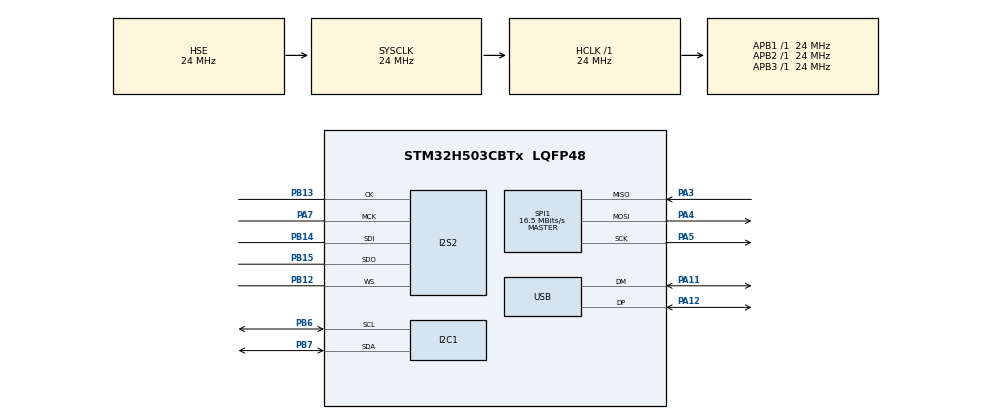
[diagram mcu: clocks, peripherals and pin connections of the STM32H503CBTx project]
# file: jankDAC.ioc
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BOOTPATH.BootPathName=LEGACY
BOOTPATH.UserSelectedBootPath=LEGACY
I2C1.Timing=0x00506682
I2S2.ErrorAudioFreq=0.7 %
I2S2.Instance=SPI$Index
I2S2.RealAudioFreq=8.056 KHz
Mcu.Family=STM32H5
Mcu.Name=STM32H503CBTx
Mcu.Package=LQFP48
NVIC.PriorityGroup=NVIC_PRIORITYGROUP_4
NVIC.USB_DRD_FS_IRQn=true\:0\:0\:false\:false\:true\:true\:true\:true
PA11.Mode=Device
PA11.Signal=USB_DM
PA12.Mode=Device
PA12.Signal=USB_DP
PA13(JTMS/SWDIO).Mode=Serial_Wire
PA13(JTMS/SWDIO).Signal=DEBUG_JTMS-SWDIO
PA14(JTCK/SWCLK).Mode=Serial_Wire
PA14(JTCK/SWCLK).Signal=DEBUG_JTCK-SWCLK
PA3.Mode=Full_Duplex_Master
PA3.Signal=SPI1_MISO
PA4.Mode=Full_Duplex_Master
PA4.Signal=SPI1_MOSI
PA5.Mode=Full_Duplex_Master
PA5.Signal=SPI1_SCK
PA7.Mode=Master_Clock_Activated
PA7.Signal=I2S2_MCK
PB12.Mode=Full_Duplex_Master
PB12.Signal=I2S2_WS
PB13.Mode=Full_Duplex_Master
PB13.Signal=I2S2_CK
PB14.Mode=Full_Duplex_Master
PB14.Signal=I2S2_SDI
PB15.Mode=Full_Duplex_Master
PB15.Signal=I2S2_SDO
PB6.Mode=I2C
PB6.Signal=I2C1_SCL
PB7.Mode=I2C
PB7.Signal=I2C1_SDA
PH0-OSC_IN(PH0).Mode=HSE-External-Oscillator
PH0-OSC_IN(PH0).Signal=RCC_OSC_IN
PH1-OSC_OUT(PH1).Mode=HSE-External-Oscillator
PH1-OSC_OUT(PH1).Signal=RCC_OSC_OUT
ProjectManager.HeapSize=0x200
ProjectManager.StackSize=0x400
ProjectManager.TargetToolchain=CMake
RCC.ADCFreq_Value=24000000
RCC.AHBFreq_Value=24000000
RCC.APB1Freq_Value=24000000
RCC.APB1TimFreq_Value=24000000
RCC.APB2Freq_Value=24000000
RCC.APB2TimFreq_Value=24000000
RCC.APB3Freq_Value=24000000
RCC.CSI_VALUE=4000000
RCC.CortexFreq_Value=24000000
RCC.EPOD_VALUE=24000000
RCC.HCLKFreq_Value=24000000
RCC.HSE_VALUE=24000000
RCC.HSI48_VALUE=48000000
RCC.HSI_VALUE=64000000
RCC.LSE_VALUE=32768
RCC.LSIRC_VALUE=32000
RCC.PLL1Q=4
RCC.PLL2FRACN=4096
RCC.PLL2N=4
RCC.PLL2Q=3
RCC.PLL2Source=RCC_PLL2_SOURCE_HSE
RCC.PLLFRACN=0
RCC.PLLM=2
RCC.PLLN=11
RCC.PLLSourceVirtual=RCC_PLL1_SOURCE_HSE
RCC.SYSCLKFreq_VALUE=24000000
RCC.SYSCLKSource=RCC_SYSCLKSOURCE_HSE
RCC.USBFreq_Value=48000000
RCC.VCOOutputFreq_Value=132000000
SPI1.CalculateBaudRate=16.5 MBits/s
SPI1.Direction=SPI_DIRECTION_2LINES
SPI1.Mode=SPI_MODE_MASTER
SPI1.VirtualType=VM_MASTER
USB.VirtualMode=Device_Only
VP_BOOTPATH_VS_BOOTPATH.Mode=BP_Activate
VP_CORTEX_M33_NS_VS_Hclk.Mode=Hclk_Mode
VP_ICACHE_VS_ICACHE.Mode=DefaultMode
VP_MEMORYMAP_VS_MEMORYMAP.Mode=CurAppReg
VP_PWR_VS_LPOM.Mode=PowerOptimisation
VP_PWR_VS_SECSignals.Mode=Security/Privilege
board=custom

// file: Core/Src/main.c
/* USER CODE BEGIN Header */
/**
  ******************************************************************************
  * @file           : main.c
  * @brief          : Main program body
  ******************************************************************************
  * @attention
  *
  * Copyright (c) 2026 STMicroelectronics.
  * All rights reserved.
  *
  * This software is licensed under terms that can be found in the LICENSE file
  * in the root directory of this software component.
  * If no LICENSE file comes with this software, it is provided AS-IS.
  *
  ******************************************************************************
  */

/*
*   TODO:
*     Fix all the blink items so they do something on the real board
*
*
*
*
*
*
*/

/* USER CODE END Header */
#include "main.h"

/* USER CODE BEGIN Includes */
#include "tusb_config.h"
#include "tusb.h"
#include "usb_descriptors.h"
#include "common_types.h"
#include "bsp/board_api.h"
#include "board_port.h"

/* USER CODE END Includes */

I2C_HandleTypeDef hi2c1;

I2S_HandleTypeDef hi2s2;

SPI_HandleTypeDef hspi1;

PCD_HandleTypeDef hpcd_USB_DRD_FS;

void SystemClock_Config(void);
static void MX_GPIO_Init(void);
static void MX_USB_PCD_Init(void);
static void MX_I2C1_Init(void);
static void MX_I2S2_Init(void);
static void MX_SPI1_Init(void);
static void MX_ICACHE_Init(void);
/* USER CODE BEGIN PFP */

void audio_task(void);

/* USER CODE END PFP */

/* USER CODE BEGIN 0 */

// Audio controls
// Current states
uint8_t mute[CFG_TUD_AUDIO_FUNC_1_N_CHANNELS_RX + 1];   // +1 for master channel 0
int16_t volume[CFG_TUD_AUDIO_FUNC_1_N_CHANNELS_RX + 1];// +1 for master channel 0
uint32_t current_sample_rate = 44100;

enum {
  BLINK_STREAMING = 25,
  BLINK_NOT_MOUNTED = 250,
  BLINK_MOUNTED = 1000,
  BLINK_SUSPENDED = 2500
};

static uint32_t blink_interval_ms = BLINK_NOT_MOUNTED;

// Buffer for speaker data
uint16_t i2s_dummy_buffer[CFG_TUD_AUDIO_FUNC_1_EP_OUT_SW_BUF_SZ / 2];

#if CFG_AUDIO_DEBUG
void audio_debug_task(void);
uint8_t current_alt_settings;
volatile uint16_t fifo_count;
volatile uint32_t fifo_count_avg;
#endif

/* USER CODE END 0 */

int main(void)
{

  /* MCU Configuration--------------------------------------------------------*/

  /* Reset of all peripherals, Initializes the Flash interface and the Systick. */
  HAL_Init();

  /* Configure the system clock */
  SystemClock_Config();

  /* Initialize all configured peripherals */
  MX_GPIO_Init();
  MX_I2C1_Init();
  MX_I2S2_Init();
  MX_SPI1_Init();
  MX_ICACHE_Init();
  /* USER CODE BEGIN 2 */
  // Enable USB clocking without HAL PCD init (TinyUSB handles the peripheral).
  RCC_PeriphCLKInitTypeDef PeriphClkInitStruct = {0};
  PeriphClkInitStruct.PeriphClockSelection = RCC_PERIPHCLK_USB;
  PeriphClkInitStruct.UsbClockSelection = RCC_USBCLKSOURCE_HSI48;
  if (HAL_RCCEx_PeriphCLKConfig(&PeriphClkInitStruct) != HAL_OK)
  {
    Error_Handler();
  }
  __HAL_RCC_USB_CLK_ENABLE();
  #if defined(PWR_USBSCR_USB33DEN)
  HAL_PWREx_EnableVddUSB();
  #endif

  // init device stack on configured roothub port
  tusb_rhport_init_t dev_init = {
      .role = TUSB_ROLE_DEVICE,
      .speed = TUSB_SPEED_AUTO};
  tusb_init(BOARD_TUD_RHPORT, &dev_init);
  // Force a clean re-enumeration after TinyUSB is ready.
  tud_disconnect();
  tusb_time_delay_ms_api(10);
  tud_connect();

  /* USER CODE END 2 */

  /* Infinite loop */
  while (1)
  {

    /* USER CODE BEGIN 3 */
    tud_task();// TinyUSB device task
#if CFG_AUDIO_DEBUG
    audio_debug_task();
#endif
    audio_task();
  }
  /* USER CODE END 3 */
}

void SystemClock_Config(void)
{
  RCC_OscInitTypeDef RCC_OscInitStruct = {0};
  RCC_ClkInitTypeDef RCC_ClkInitStruct = {0};

  /** Configure the main internal regulator output voltage
  */
  __HAL_PWR_VOLTAGESCALING_CONFIG(PWR_REGULATOR_VOLTAGE_SCALE3);

  while(!__HAL_PWR_GET_FLAG(PWR_FLAG_VOSRDY)) {}

  /** Initializes the RCC Oscillators according to the specified parameters
  * in the RCC_OscInitTypeDef structure.
  */
  RCC_OscInitStruct.OscillatorType = RCC_OSCILLATORTYPE_HSI48|RCC_OSCILLATORTYPE_HSE;
  RCC_OscInitStruct.HSEState = RCC_HSE_ON;
  RCC_OscInitStruct.HSI48State = RCC_HSI48_ON;
  RCC_OscInitStruct.PLL.PLLState = RCC_PLL_ON;
  RCC_OscInitStruct.PLL.PLLSource = RCC_PLL1_SOURCE_HSE;
  RCC_OscInitStruct.PLL.PLLM = 2;
  RCC_OscInitStruct.PLL.PLLN = 11;
  RCC_OscInitStruct.PLL.PLLP = 2;
  RCC_OscInitStruct.PLL.PLLQ = 4;
  RCC_OscInitStruct.PLL.PLLR = 2;
  RCC_OscInitStruct.PLL.PLLRGE = RCC_PLL1_VCIRANGE_3;
  RCC_OscInitStruct.PLL.PLLVCOSEL = RCC_PLL1_VCORANGE_WIDE;
  RCC_OscInitStruct.PLL.PLLFRACN = 0;
  if (HAL_RCC_OscConfig(&RCC_OscInitStruct) != HAL_OK)
  {
    Error_Handler();
  }

  /** Initializes the CPU, AHB and APB buses clocks
  */
  RCC_ClkInitStruct.ClockType = RCC_CLOCKTYPE_HCLK|RCC_CLOCKTYPE_SYSCLK
                              |RCC_CLOCKTYPE_PCLK1|RCC_CLOCKTYPE_PCLK2
                              |RCC_CLOCKTYPE_PCLK3;
  RCC_ClkInitStruct.SYSCLKSource = RCC_SYSCLKSOURCE_HSE;
  RCC_ClkInitStruct.AHBCLKDivider = RCC_SYSCLK_DIV1;
  RCC_ClkInitStruct.APB1CLKDivider = RCC_HCLK_DIV1;
  RCC_ClkInitStruct.APB2CLKDivider = RCC_HCLK_DIV1;
  RCC_ClkInitStruct.APB3CLKDivider = RCC_HCLK_DIV1;

  if (HAL_RCC_ClockConfig(&RCC_ClkInitStruct, FLASH_LATENCY_1) != HAL_OK)
  {
    Error_Handler();
  }

  /** Configure the programming delay
  */
  __HAL_FLASH_SET_PROGRAM_DELAY(FLASH_PROGRAMMING_DELAY_0);
}

static void MX_I2C1_Init(void)
{

  hi2c1.Instance = I2C1;
  hi2c1.Init.Timing = 0x00506682;
  hi2c1.Init.OwnAddress1 = 0;
  hi2c1.Init.AddressingMode = I2C_ADDRESSINGMODE_7BIT;
  hi2c1.Init.DualAddressMode = I2C_DUALADDRESS_DISABLE;
  hi2c1.Init.OwnAddress2 = 0;
  hi2c1.Init.OwnAddress2Masks = I2C_OA2_NOMASK;
  hi2c1.Init.GeneralCallMode = I2C_GENERALCALL_DISABLE;
  hi2c1.Init.NoStretchMode = I2C_NOSTRETCH_DISABLE;
  if (HAL_I2C_Init(&hi2c1) != HAL_OK)
  {
    Error_Handler();
  }

  /** Configure Analogue filter
  */
  if (HAL_I2CEx_ConfigAnalogFilter(&hi2c1, I2C_ANALOGFILTER_ENABLE) != HAL_OK)
  {
    Error_Handler();
  }

  /** Configure Digital filter
  */
  if (HAL_I2CEx_ConfigDigitalFilter(&hi2c1, 0) != HAL_OK)
  {
    Error_Handler();
  }

}

static void MX_I2S2_Init(void)
{

  hi2s2.Instance = SPI2;
  hi2s2.Init.Mode = I2S_MODE_MASTER_FULLDUPLEX;
  hi2s2.Init.Standard = I2S_STANDARD_PHILIPS;
  hi2s2.Init.DataFormat = I2S_DATAFORMAT_16B;
  hi2s2.Init.MCLKOutput = I2S_MCLKOUTPUT_ENABLE;
  hi2s2.Init.AudioFreq = I2S_AUDIOFREQ_8K;
  hi2s2.Init.CPOL = I2S_CPOL_LOW;
  hi2s2.Init.FirstBit = I2S_FIRSTBIT_MSB;
  hi2s2.Init.WSInversion = I2S_WS_INVERSION_DISABLE;
  hi2s2.Init.Data24BitAlignment = I2S_DATA_24BIT_ALIGNMENT_RIGHT;
  hi2s2.Init.MasterKeepIOState = I2S_MASTER_KEEP_IO_STATE_DISABLE;
  if (HAL_I2S_Init(&hi2s2) != HAL_OK)
  {
    Error_Handler();
  }

}

static void MX_ICACHE_Init(void)
{

  /** Enable instruction cache (default 2-ways set associative cache)
  */
  if (HAL_ICACHE_Enable() != HAL_OK)
  {
    Error_Handler();
  }

}

static void MX_SPI1_Init(void)
{

  /* SPI1 parameter configuration*/
  hspi1.Instance = SPI1;
  hspi1.Init.Mode = SPI_MODE_MASTER;
  hspi1.Init.Direction = SPI_DIRECTION_2LINES;
  hspi1.Init.DataSize = SPI_DATASIZE_4BIT;
  hspi1.Init.CLKPolarity = SPI_POLARITY_LOW;
  hspi1.Init.CLKPhase = SPI_PHASE_1EDGE;
  hspi1.Init.NSS = SPI_NSS_SOFT;
  hspi1.Init.BaudRatePrescaler = SPI_BAUDRATEPRESCALER_2;
  hspi1.Init.FirstBit = SPI_FIRSTBIT_MSB;
  hspi1.Init.TIMode = SPI_TIMODE_DISABLE;
  hspi1.Init.CRCCalculation = SPI_CRCCALCULATION_DISABLE;
  hspi1.Init.CRCPolynomial = 0x7;
  hspi1.Init.NSSPMode = SPI_NSS_PULSE_ENABLE;
  hspi1.Init.NSSPolarity = SPI_NSS_POLARITY_LOW;
  hspi1.Init.FifoThreshold = SPI_FIFO_THRESHOLD_01DATA;
  hspi1.Init.MasterSSIdleness = SPI_MASTER_SS_IDLENESS_00CYCLE;
  hspi1.Init.MasterInterDataIdleness = SPI_MASTER_INTERDATA_IDLENESS_00CYCLE;
  hspi1.Init.MasterReceiverAutoSusp = SPI_MASTER_RX_AUTOSUSP_DISABLE;
  hspi1.Init.MasterKeepIOState = SPI_MASTER_KEEP_IO_STATE_DISABLE;
  hspi1.Init.IOSwap = SPI_IO_SWAP_DISABLE;
  hspi1.Init.ReadyMasterManagement = SPI_RDY_MASTER_MANAGEMENT_INTERNALLY;
  hspi1.Init.ReadyPolarity = SPI_RDY_POLARITY_HIGH;
  if (HAL_SPI_Init(&hspi1) != HAL_OK)
  {
    Error_Handler();
  }

}

static void MX_USB_PCD_Init(void)
{

  hpcd_USB_DRD_FS.Instance = USB_DRD_FS;
  hpcd_USB_DRD_FS.Init.dev_endpoints = 8;
  hpcd_USB_DRD_FS.Init.speed = USBD_FS_SPEED;
  hpcd_USB_DRD_FS.Init.phy_itface = PCD_PHY_EMBEDDED;
  hpcd_USB_DRD_FS.Init.Sof_enable = DISABLE;
  hpcd_USB_DRD_FS.Init.low_power_enable = DISABLE;
  hpcd_USB_DRD_FS.Init.lpm_enable = DISABLE;
  hpcd_USB_DRD_FS.Init.battery_charging_enable = DISABLE;
  hpcd_USB_DRD_FS.Init.vbus_sensing_enable = DISABLE;
  hpcd_USB_DRD_FS.Init.bulk_doublebuffer_enable = DISABLE;
  hpcd_USB_DRD_FS.Init.iso_singlebuffer_enable = DISABLE;
  if (HAL_PCD_Init(&hpcd_USB_DRD_FS) != HAL_OK)
  {
    Error_Handler();
  }

}

static void MX_GPIO_Init(void)
{

  /* GPIO Ports Clock Enable */
  __HAL_RCC_GPIOH_CLK_ENABLE();
  __HAL_RCC_GPIOA_CLK_ENABLE();
  __HAL_RCC_GPIOB_CLK_ENABLE();

  /* USER CODE BEGIN MX_GPIO_Init_2 */
  GPIO_InitTypeDef GPIO_InitStruct = {0};
  GPIO_InitStruct.Pin = BOARD_LED_GPIO_PIN;
  GPIO_InitStruct.Mode = GPIO_MODE_OUTPUT_PP;
  GPIO_InitStruct.Pull = GPIO_NOPULL;
  GPIO_InitStruct.Speed = GPIO_SPEED_FREQ_LOW;
  HAL_GPIO_Init(BOARD_LED_GPIO_PORT, &GPIO_InitStruct);

  /* USER CODE END MX_GPIO_Init_2 */
}

/* USER CODE BEGIN 4 */

//--------------------------------------------------------------------+
// Device callbacks
//--------------------------------------------------------------------+

// Invoked when device is mounted
void tud_mount_cb(void) {
  //blink_interval_ms = BLINK_MOUNTED;
}

// Invoked when device is unmounted
void tud_umount_cb(void) {
  //blink_interval_ms = BLINK_NOT_MOUNTED;
}

// Invoked when usb bus is suspended
// remote_wakeup_en : if host allow us  to perform remote wakeup
// Within 7ms, device must draw an average of current less than 2.5 mA from bus
void tud_suspend_cb(bool remote_wakeup_en) {
  (void) remote_wakeup_en;
  //blink_interval_ms = BLINK_SUSPENDED;
}

// Invoked when usb bus is resumed
void tud_resume_cb(void) {
  //blink_interval_ms = tud_mounted() ? BLINK_MOUNTED : BLINK_NOT_MOUNTED;
}

//--------------------------------------------------------------------+
// Application Callback API Implementations
//--------------------------------------------------------------------+

//--------------------------------------------------------------------+
// UAC1 Helper Functions
//--------------------------------------------------------------------+

static bool audio10_set_req_ep(tusb_control_request_t const *p_request, uint8_t *pBuff) {
  uint8_t ctrlSel = TU_U16_HIGH(p_request->wValue);

  switch (ctrlSel) {
    case AUDIO10_EP_CTRL_SAMPLING_FREQ:
      if (p_request->bRequest == AUDIO10_CS_REQ_SET_CUR) {
        // Request uses 3 bytes
        TU_VERIFY(p_request->wLength == 3);

        current_sample_rate = tu_unaligned_read32(pBuff) & 0x00FFFFFF;

        TU_LOG2("EP set current freq: %" PRIu32 "\r\n", current_sample_rate);

        return true;
      }
      break;

    // Unknown/Unsupported control
    default:
      TU_BREAKPOINT();
      return false;
  }

  return false;
}

static bool audio10_get_req_ep(uint8_t rhport, tusb_control_request_t const *p_request) {
  uint8_t ctrlSel = TU_U16_HIGH(p_request->wValue);

  switch (ctrlSel) {
    case AUDIO10_EP_CTRL_SAMPLING_FREQ:
      if (p_request->bRequest == AUDIO10_CS_REQ_GET_CUR) {
        TU_LOG2("EP get current freq\r\n");

        uint8_t freq[3];
        freq[0] = (uint8_t) (current_sample_rate & 0xFF);
        freq[1] = (uint8_t) ((current_sample_rate >> 8) & 0xFF);
        freq[2] = (uint8_t) ((current_sample_rate >> 16) & 0xFF);
        return tud_audio_buffer_and_schedule_control_xfer(rhport, p_request, freq, sizeof(freq));
      }
      break;

    // Unknown/Unsupported control
    default:
      TU_BREAKPOINT();
      return false;
  }

  return false;
}

static bool audio10_set_req_entity(tusb_control_request_t const *p_request, uint8_t *pBuff) {
  uint8_t channelNum = TU_U16_LOW(p_request->wValue);
  uint8_t ctrlSel = TU_U16_HIGH(p_request->wValue);
  uint8_t entityID = TU_U16_HIGH(p_request->wIndex);

  // If request is for our feature unit
  if (entityID == UAC1_ENTITY_FEATURE_UNIT) {
    switch (ctrlSel) {
      case AUDIO10_FU_CTRL_MUTE:
        switch (p_request->bRequest) {
          case AUDIO10_CS_REQ_SET_CUR:
            // Only 1st form is supported
            TU_VERIFY(p_request->wLength == 1);

            mute[channelNum] = pBuff[0];

            TU_LOG2("    Set Mute: %d of channel: %u\r\n", mute[channelNum], channelNum);
            return true;

          default:
            return false; // not supported
        }

      case AUDIO10_FU_CTRL_VOLUME:
        switch (p_request->bRequest) {
          case AUDIO10_CS_REQ_SET_CUR:
            // Only 1st form is supported
            TU_VERIFY(p_request->wLength == 2);

            volume[channelNum] = (int16_t)tu_unaligned_read16(pBuff) / 256;

            TU_LOG2("    Set Volume: %d dB of channel: %u\r\n", volume[channelNum], channelNum);
            return true;

          default:
            return false; // not supported
        }

        // Unknown/Unsupported control
      default:
        TU_BREAKPOINT();
        return false;
    }
  }

  return false;
}

static bool audio10_get_req_entity(uint8_t rhport, tusb_control_request_t const *p_request) {
  uint8_t channelNum = TU_U16_LOW(p_request->wValue);
  uint8_t ctrlSel = TU_U16_HIGH(p_request->wValue);
  uint8_t entityID = TU_U16_HIGH(p_request->wIndex);

  // If request is for our feature unit
  if (entityID == UAC1_ENTITY_FEATURE_UNIT) {
    switch (ctrlSel) {
      case AUDIO10_FU_CTRL_MUTE:
        // Audio control mute cur parameter block consists of only one byte - we thus can send it right away
        // There does not exist a range parameter block for mute
        TU_LOG2("    Get Mute of channel: %u\r\n", channelNum);
        return tud_audio_buffer_and_schedule_control_xfer(rhport, p_request, &mute[channelNum], 1);

      case AUDIO10_FU_CTRL_VOLUME:
        switch (p_request->bRequest) {
          case AUDIO10_CS_REQ_GET_CUR:
            TU_LOG2("    Get Volume of channel: %u\r\n", channelNum);
            {
              int16_t vol = (int16_t) volume[channelNum];
              vol = vol * 256; // convert to 1/256 dB units
              return tud_audio_buffer_and_schedule_control_xfer(rhport, p_request, &vol, sizeof(vol));
            }

          case AUDIO10_CS_REQ_GET_MIN:
            TU_LOG2("    Get Volume min of channel: %u\r\n", channelNum);
            {
              int16_t min = -90; // -90 dB
              min = min * 256; // convert to 1/256 dB units
              return tud_audio_buffer_and_schedule_control_xfer(rhport, p_request, &min, sizeof(min));
            }

          case AUDIO10_CS_REQ_GET_MAX:
            TU_LOG2("    Get Volume max of channel: %u\r\n", channelNum);
            {
              int16_t max = 30; // +30 dB
              max = max * 256; // convert to 1/256 dB units
              return tud_audio_buffer_and_schedule_control_xfer(rhport, p_request, &max, sizeof(max));
            }

          case AUDIO10_CS_REQ_GET_RES:
            TU_LOG2("    Get Volume res of channel: %u\r\n", channelNum);
            {
              int16_t res = 128; // 0.5 dB
              return tud_audio_buffer_and_schedule_control_xfer(rhport, p_request, &res, sizeof(res));
            }
            // Unknown/Unsupported control
          default:
            TU_BREAKPOINT();
            return false;
        }
        break;

        // Unknown/Unsupported control
      default:
        TU_BREAKPOINT();
        return false;
    }
  }

  return false;
}

//--------------------------------------------------------------------+
// UAC2 Helper Functions
//--------------------------------------------------------------------+

#if TUD_OPT_HIGH_SPEED
// List of supported sample rates for UAC2
const uint32_t sample_rates[] = {44100, 48000, 88200, 96000};

#define N_SAMPLE_RATES TU_ARRAY_SIZE(sample_rates)

static bool audio20_clock_get_request(uint8_t rhport, audio20_control_request_t const *request) {
  TU_ASSERT(request->bEntityID == UAC2_ENTITY_CLOCK);

  if (request->bControlSelector == AUDIO20_CS_CTRL_SAM_FREQ) {
    if (request->bRequest == AUDIO20_CS_REQ_CUR) {
      TU_LOG1("Clock get current freq %" PRIu32 "\r\n", current_sample_rate);

      audio20_control_cur_4_t curf = {(int32_t) tu_htole32(current_sample_rate)};
      return tud_audio_buffer_and_schedule_control_xfer(rhport, (tusb_control_request_t const *) request, &curf, sizeof(curf));
    } else if (request->bRequest == AUDIO20_CS_REQ_RANGE) {
      audio20_control_range_4_n_t(N_SAMPLE_RATES) rangef =
          {
              .wNumSubRanges = tu_htole16(N_SAMPLE_RATES)};
      TU_LOG1("Clock get %d freq ranges\r\n", N_SAMPLE_RATES);
      for (uint8_t i = 0; i < N_SAMPLE_RATES; i++) {
        rangef.subrange[i].bMin = (int32_t) sample_rates[i];
        rangef.subrange[i].bMax = (int32_t) sample_rates[i];
        rangef.subrange[i].bRes = 0;
        TU_LOG1("Range %d (%d, %d, %d)\r\n", i, (int) rangef.subrange[i].bMin, (int) rangef.subrange[i].bMax, (int) rangef.subrange[i].bRes);
      }

      return tud_audio_buffer_and_schedule_control_xfer(rhport, (tusb_control_request_t const *) request, &rangef, sizeof(rangef));
    }
  } else if (request->bControlSelector == AUDIO20_CS_CTRL_CLK_VALID &&
             request->bRequest == AUDIO20_CS_REQ_CUR) {
    audio20_control_cur_1_t cur_valid = {.bCur = 1};
    TU_LOG1("Clock get is valid %u\r\n", cur_valid.bCur);
    return tud_audio_buffer_and_schedule_control_xfer(rhport, (tusb_control_request_t const *) request, &cur_valid, sizeof(cur_valid));
  }
  TU_LOG1("Clock get request not supported, entity = %u, selector = %u, request = %u\r\n",
          request->bEntityID, request->bControlSelector, request->bRequest);
  return false;
}

static bool audio20_clock_set_request(audio20_control_request_t const *request, uint8_t const *buf) {
  TU_ASSERT(request->bEntityID == UAC2_ENTITY_CLOCK);
  TU_VERIFY(request->bRequest == AUDIO20_CS_REQ_CUR);

  if (request->bControlSelector == AUDIO20_CS_CTRL_SAM_FREQ) {
    TU_VERIFY(request->wLength == sizeof(audio20_control_cur_4_t));

    current_sample_rate = (uint32_t) ((audio20_control_cur_4_t const *) buf)->bCur;

    TU_LOG1("Clock set current freq: %" PRIu32 "\r\n", current_sample_rate);

    return true;
  } else {
    TU_LOG1("Clock set request not supported, entity = %u, selector = %u, request = %u\r\n",
            request->bEntityID, request->bControlSelector, request->bRequest);
    return false;
  }
}

static bool audio20_feature_unit_get_request(uint8_t rhport, audio20_control_request_t const *request) {
  TU_ASSERT(request->bEntityID == UAC2_ENTITY_FEATURE_UNIT);

  if (request->bControlSelector == AUDIO20_FU_CTRL_MUTE && request->bRequest == AUDIO20_CS_REQ_CUR) {
    audio20_control_cur_1_t mute1 = {.bCur = mute[request->bChannelNumber]};
    TU_LOG1("Get channel %u mute %d\r\n", request->bChannelNumber, mute1.bCur);
    return tud_audio_buffer_and_schedule_control_xfer(rhport, (tusb_control_request_t const *) request, &mute1, sizeof(mute1));
  } else if (request->bControlSelector == AUDIO20_FU_CTRL_VOLUME) {
    if (request->bRequest == AUDIO20_CS_REQ_RANGE) {
      audio20_control_range_2_n_t(1) range_vol = {
          .wNumSubRanges = tu_htole16(1),
          .subrange[0] = {.bMin = tu_htole16(-VOLUME_CTRL_50_DB), tu_htole16(VOLUME_CTRL_0_DB), tu_htole16(256)}};
      TU_LOG1("Get channel %u volume range (%d, %d, %u) dB\r\n", request->bChannelNumber,
              range_vol.subrange[0].bMin / 256, range_vol.subrange[0].bMax / 256, range_vol.subrange[0].bRes / 256);
      return tud_audio_buffer_and_schedule_control_xfer(rhport, (tusb_control_request_t const *) request, &range_vol, sizeof(range_vol));
    } else if (request->bRequest == AUDIO20_CS_REQ_CUR) {
      audio20_control_cur_2_t cur_vol = {.bCur = tu_htole16(volume[request->bChannelNumber])};
      TU_LOG1("Get channel %u volume %d dB\r\n", request->bChannelNumber, cur_vol.bCur / 256);
      return tud_audio_buffer_and_schedule_control_xfer(rhport, (tusb_control_request_t const *) request, &cur_vol, sizeof(cur_vol));
    }
  }
  TU_LOG1("Feature unit get request not supported, entity = %u, selector = %u, request = %u\r\n",
          request->bEntityID, request->bControlSelector, request->bRequest);

  return false;
}

static bool audio20_feature_unit_set_request(audio20_control_request_t const *request, uint8_t const *buf) {
  TU_ASSERT(request->bEntityID == UAC2_ENTITY_FEATURE_UNIT);
  TU_VERIFY(request->bRequest == AUDIO20_CS_REQ_CUR);

  if (request->bControlSelector == AUDIO20_FU_CTRL_MUTE) {
    TU_VERIFY(request->wLength == sizeof(audio20_control_cur_1_t));

    mute[request->bChannelNumber] = ((audio20_control_cur_1_t const *) buf)->bCur;

    TU_LOG1("Set channel %d Mute: %d\r\n", request->bChannelNumber, mute[request->bChannelNumber]);

    return true;
  } else if (request->bControlSelector == AUDIO20_FU_CTRL_VOLUME) {
    TU_VERIFY(request->wLength == sizeof(audio20_control_cur_2_t));

    volume[request->bChannelNumber] = ((audio20_control_cur_2_t const *) buf)->bCur;

    TU_LOG1("Set channel %d volume: %d dB\r\n", request->bChannelNumber, volume[request->bChannelNumber] / 256);

    return true;
  } else {
    TU_LOG1("Feature unit set request not supported, entity = %u, selector = %u, request = %u\r\n",
            request->bEntityID, request->bControlSelector, request->bRequest);
    return false;
  }
}

static bool audio20_get_req_entity(uint8_t rhport, tusb_control_request_t const *p_request) {
  audio20_control_request_t const *request = (audio20_control_request_t const *) p_request;

  if (request->bEntityID == UAC2_ENTITY_CLOCK)
    return audio20_clock_get_request(rhport, request);
  if (request->bEntityID == UAC2_ENTITY_FEATURE_UNIT)
    return audio20_feature_unit_get_request(rhport, request);
  else {
    TU_LOG1("Get request not handled, entity = %d, selector = %d, request = %d\r\n",
            request->bEntityID, request->bControlSelector, request->bRequest);
  }
  return false;
}

static bool audio20_set_req_entity(tusb_control_request_t const *p_request, uint8_t *buf) {
  audio20_control_request_t const *request = (audio20_control_request_t const *) p_request;

  if (request->bEntityID == UAC2_ENTITY_FEATURE_UNIT)
    return audio20_feature_unit_set_request(request, buf);
  if (request->bEntityID == UAC2_ENTITY_CLOCK)
    return audio20_clock_set_request(request, buf);
  TU_LOG1("Set request not handled, entity = %d, selector = %d, request = %d\r\n",
          request->bEntityID, request->bControlSelector, request->bRequest);

  return false;
}

#endif // TUD_OPT_HIGH_SPEED

//--------------------------------------------------------------------+
// Main Callback Functions
//--------------------------------------------------------------------+

bool tud_audio_set_itf_cb(uint8_t rhport, tusb_control_request_t const *p_request) {
  (void) rhport;
  uint8_t const itf = tu_u16_low(tu_le16toh(p_request->wIndex));
  uint8_t const alt = tu_u16_low(tu_le16toh(p_request->wValue));

  TU_LOG2("Set interface %d alt %d\r\n", itf, alt);
  if (ITF_NUM_AUDIO_STREAMING == itf && alt != 0)
    //blink_interval_ms = BLINK_STREAMING;

#if CFG_AUDIO_DEBUG
  current_alt_settings = alt;
#endif

  return true;
}

// Invoked when audio class specific set request received for an EP
bool tud_audio_set_req_ep_cb(uint8_t rhport, tusb_control_request_t const *p_request, uint8_t *pBuff) {
  (void) rhport;
  (void) pBuff;

  if (tud_audio_version() == 1) {
    return audio10_set_req_ep(p_request, pBuff);
  } else if (tud_audio_version() == 2) {
    // We do not support any requests here
  }

  return false;// Yet not implemented
}

// Invoked when audio class specific get request received for an EP
bool tud_audio_get_req_ep_cb(uint8_t rhport, tusb_control_request_t const *p_request) {
  (void) rhport;

  if (tud_audio_version() == 1) {
    return audio10_get_req_ep(rhport, p_request);
  } else if (tud_audio_version() == 2) {
    // We do not support any requests here
  }

  return false;// Yet not implemented
}

// Invoked when audio class specific set request received for an entity
bool tud_audio_set_req_entity_cb(uint8_t rhport, tusb_control_request_t const *p_request, uint8_t *buf) {
  (void) rhport;

  if (tud_audio_version() == 1) {
    return audio10_set_req_entity(p_request, buf);
#if TUD_OPT_HIGH_SPEED
  } else if (tud_audio_version() == 2) {
    return audio20_set_req_entity(p_request, buf);
#endif
  }

  return false;
}

// Invoked when audio class specific get request received for an entity
bool tud_audio_get_req_entity_cb(uint8_t rhport, tusb_control_request_t const *p_request) {
  (void) rhport;

  if (tud_audio_version() == 1) {
    return audio10_get_req_entity(rhport, p_request);
#if TUD_OPT_HIGH_SPEED
  } else if (tud_audio_version() == 2) {
    return audio20_get_req_entity(rhport, p_request);
#endif
  }

  return false;
}

bool tud_audio_set_itf_close_ep_cb(uint8_t rhport, tusb_control_request_t const *p_request) {
  (void) rhport;

  uint8_t const itf = tu_u16_low(tu_le16toh(p_request->wIndex));
  uint8_t const alt = tu_u16_low(tu_le16toh(p_request->wValue));

  if (ITF_NUM_AUDIO_STREAMING == itf && alt == 0){
    //blink_interval_ms = BLINK_MOUNTED;
  }

  return true;
}

void tud_audio_feedback_params_cb(uint8_t func_id, uint8_t alt_itf, audio_feedback_params_t *feedback_param) {
  (void) func_id;
  (void) alt_itf;
  // Set feedback method to fifo counting
  feedback_param->method = AUDIO_FEEDBACK_METHOD_FIFO_COUNT;
  feedback_param->sample_freq = current_sample_rate;

  // About FIFO threshold:
  //
  // By default the threshold is set to half FIFO size, which works well in most cases,
  // you can reduce the threshold to have less latency.
  //
  // For example, here we could set the threshold to 2 ms of audio data, as audio_task() read audio data every 1 ms,
  // having 2 ms threshold allows some margin and a quick response:
  //
  // feedback_param->fifo_count.fifo_threshold =
  //    current_sample_rate * CFG_TUD_AUDIO_FUNC_1_N_CHANNELS_RX * CFG_TUD_AUDIO_FUNC_1_N_BYTES_PER_SAMPLE_RX / 1000 * 2;
}

#if CFG_AUDIO_DEBUG
bool tud_audio_rx_done_isr(uint8_t rhport, uint16_t n_bytes_received, uint8_t func_id, uint8_t ep_out, uint8_t cur_alt_setting) {
  (void) rhport;
  (void) n_bytes_received;
  (void) func_id;
  (void) ep_out;
  (void) cur_alt_setting;

  fifo_count = tud_audio_available();
  // Same averaging method used in UAC2 class
  fifo_count_avg = (uint32_t) (((uint64_t) fifo_count_avg * 63 + ((uint32_t) fifo_count << 16)) >> 6);

  return true;
}
#endif

//--------------------------------------------------------------------+
// AUDIO Task
//--------------------------------------------------------------------+

// This task simulates an audio transmit callback, one frame is sent every 1ms.
// In a real application, this would be replaced with actual I2S transmit callback.
void audio_task(void) {
  static uint32_t start_ms = 0;
  uint32_t curr_ms = board_millis();
  if (start_ms == curr_ms) return;// not enough time
  start_ms = curr_ms;

  uint16_t length = (uint16_t) (current_sample_rate / 1000 * CFG_TUD_AUDIO_FUNC_1_N_BYTES_PER_SAMPLE_RX * CFG_TUD_AUDIO_FUNC_1_N_CHANNELS_RX);

  if (current_sample_rate == 44100 && (curr_ms % 10 == 0)) {
    // Take one more sample every 10 cycles, to have a average reading speed of 44.1
    // This correction is not needed in real world cases
    length += CFG_TUD_AUDIO_FUNC_1_N_BYTES_PER_SAMPLE_RX * CFG_TUD_AUDIO_FUNC_1_N_CHANNELS_RX;
  } else if (current_sample_rate == 88200 && (curr_ms % 5 == 0)) {
    // Take one more sample every 5 cycles, to have a average reading speed of 88.2
    // This correction is not needed in real world cases
    length += CFG_TUD_AUDIO_FUNC_1_N_BYTES_PER_SAMPLE_RX * CFG_TUD_AUDIO_FUNC_1_N_CHANNELS_RX;
  }

  tud_audio_read(i2s_dummy_buffer, length);
}

//--------------------------------------------------------------------+
// BLINKING TASK
//--------------------------------------------------------------------+
void led_blinking_task(void) {
  static uint32_t start_ms = 0;
  static bool led_state = false;

  // Blink every interval ms
  if (board_millis() - start_ms < blink_interval_ms) return;
  start_ms += blink_interval_ms;

  board_led_write(led_state);
  led_state = 1 - led_state;
}

#if CFG_AUDIO_DEBUG
//--------------------------------------------------------------------+
// HID interface for audio debug
//--------------------------------------------------------------------+
// Every 1ms, we will sent 1 debug information report
void audio_debug_task(void) {
  static uint32_t start_ms = 0;
  uint32_t curr_ms = board_millis();
  if (start_ms == curr_ms) return;// not enough time
  start_ms = curr_ms;

  audio_debug_info_t debug_info;
  debug_info.sample_rate = current_sample_rate;
  debug_info.alt_settings = current_alt_settings;
  debug_info.fifo_size = CFG_TUD_AUDIO_FUNC_1_EP_OUT_SW_BUF_SZ;
  debug_info.fifo_count = fifo_count;
  debug_info.fifo_count_avg = (uint16_t) (fifo_count_avg >> 16);
  for (int i = 0; i < CFG_TUD_AUDIO_FUNC_1_N_CHANNELS_RX + 1; i++) {
    debug_info.mute[i] = mute[i];
    debug_info.volume[i] = volume[i];
  }

  if (tud_hid_ready())
    tud_hid_report(0, &debug_info, sizeof(debug_info));
}

// Invoked when received GET_REPORT control request
// Unused here
uint16_t tud_hid_get_report_cb(uint8_t itf, uint8_t report_id, hid_report_type_t report_type, uint8_t *buffer, uint16_t reqlen) {
  // TODO not Implemented
  (void) itf;
  (void) report_id;
  (void) report_type;
  (void) buffer;
  (void) reqlen;

  return 0;
}

// Invoked when received SET_REPORT control request or
// Unused here
void tud_hid_set_report_cb(uint8_t itf, uint8_t report_id, hid_report_type_t report_type, uint8_t const *buffer, uint16_t bufsize) {
  // This example doesn't use multiple report and report ID
  (void) itf;
  (void) report_id;
  (void) report_type;
  (void) buffer;
  (void) bufsize;
}

#endif

/* USER CODE END 4 */

void Error_Handler(void)
{
  __disable_irq();
  while (1)
  {
  }
}
